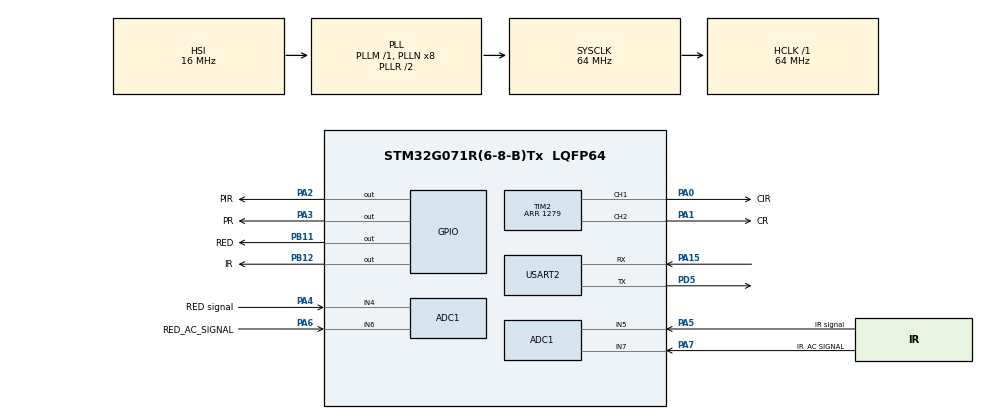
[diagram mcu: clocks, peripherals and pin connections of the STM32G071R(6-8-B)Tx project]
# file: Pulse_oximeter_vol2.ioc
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ADC1.Channel-2\#ChannelRegularConversion=ADC_CHANNEL_4
ADC1.Channel-5\#ChannelRegularConversion=ADC_CHANNEL_5
ADC1.Channel-6\#ChannelRegularConversion=ADC_CHANNEL_6
ADC1.Channel-7\#ChannelRegularConversion=ADC_CHANNEL_7
ADC1.NbrOfConversion=4
ADC1.NbrOfConversionFlag=1
ADC1.OversamplingMode=ENABLE
ADC1.Rank-2\#ChannelRegularConversion=1
ADC1.Rank-5\#ChannelRegularConversion=2
ADC1.Rank-6\#ChannelRegularConversion=3
ADC1.Rank-7\#ChannelRegularConversion=4
ADC1.Ratio=ADC_OVERSAMPLING_RATIO_16
ADC1.RightBitShift=ADC_RIGHTBITSHIFT_4
ADC1.SamplingTime-2\#ChannelRegularConversion=ADC_SAMPLINGTIME_COMMON_1
ADC1.SamplingTime-5\#ChannelRegularConversion=ADC_SAMPLINGTIME_COMMON_1
ADC1.SamplingTime-6\#ChannelRegularConversion=ADC_SAMPLINGTIME_COMMON_1
ADC1.SamplingTime-7\#ChannelRegularConversion=ADC_SAMPLINGTIME_COMMON_1
ADC1.SamplingTimeCommon1=ADC_SAMPLETIME_160CYCLES_5
ADC1.SelectedChannel=ADC_CHANNEL_4|ADC_CHANNEL_5|ADC_CHANNEL_6|ADC_CHANNEL_7
ADC1.master=1
Dma.ADC1.0.Direction=DMA_PERIPH_TO_MEMORY
Dma.ADC1.0.EventEnable=DISABLE
Dma.ADC1.0.Instance=DMA1_Channel1
Dma.ADC1.0.MemDataAlignment=DMA_MDATAALIGN_HALFWORD
Dma.ADC1.0.MemInc=DMA_MINC_ENABLE
Dma.ADC1.0.Mode=DMA_NORMAL
Dma.ADC1.0.PeriphDataAlignment=DMA_PDATAALIGN_HALFWORD
Dma.ADC1.0.PeriphInc=DMA_PINC_DISABLE
Dma.ADC1.0.Polarity=HAL_DMAMUX_REQ_GEN_RISING
Dma.ADC1.0.Priority=DMA_PRIORITY_VERY_HIGH
Dma.ADC1.0.RequestNumber=1
Dma.ADC1.0.SignalID=NONE
Dma.ADC1.0.SyncEnable=DISABLE
Dma.ADC1.0.SyncPolarity=HAL_DMAMUX_SYNC_NO_EVENT
Dma.ADC1.0.SyncRequestNumber=1
Dma.ADC1.0.SyncSignalID=NONE
Dma.Request0=ADC1
Dma.Request1=USART2_TX
Dma.USART2_TX.1.Direction=DMA_MEMORY_TO_PERIPH
Dma.USART2_TX.1.EventEnable=DISABLE
Dma.USART2_TX.1.Instance=DMA1_Channel2
Dma.USART2_TX.1.MemDataAlignment=DMA_MDATAALIGN_BYTE
Dma.USART2_TX.1.MemInc=DMA_MINC_ENABLE
Dma.USART2_TX.1.Mode=DMA_NORMAL
Dma.USART2_TX.1.PeriphDataAlignment=DMA_PDATAALIGN_BYTE
Dma.USART2_TX.1.PeriphInc=DMA_PINC_DISABLE
Dma.USART2_TX.1.Polarity=HAL_DMAMUX_REQ_GEN_RISING
Dma.USART2_TX.1.Priority=DMA_PRIORITY_MEDIUM
Dma.USART2_TX.1.RequestNumber=1
Dma.USART2_TX.1.SignalID=NONE
Dma.USART2_TX.1.SyncEnable=DISABLE
Dma.USART2_TX.1.SyncPolarity=HAL_DMAMUX_SYNC_NO_EVENT
Dma.USART2_TX.1.SyncRequestNumber=1
Dma.USART2_TX.1.SyncSignalID=NONE
Mcu.Family=STM32G0
Mcu.Name=STM32G071R(6-8-B)Tx
Mcu.Package=LQFP64
NVIC.DMA1_Channel1_IRQn=true\:0\:0\:false\:false\:true\:false\:true\:true
NVIC.DMA1_Channel2_3_IRQn=true\:0\:0\:false\:false\:true\:false\:true\:true
NVIC.TIM2_IRQn=true\:0\:0\:false\:false\:true\:true\:true\:true
PA0.GPIO_Label=CIR
PA0.GPIO_Speed=GPIO_SPEED_FREQ_VERY_HIGH
PA0.Signal=S_TIM2_CH1_ETR
PA1.GPIO_Label=CR
PA1.GPIO_Speed=GPIO_SPEED_FREQ_VERY_HIGH
PA1.Signal=S_TIM2_CH2
PA13.GPIO_Label=TMS
PA13.Mode=Serial_Wire
PA13.Signal=SYS_SWDIO
PA14-BOOT0.GPIO_Label=TCK
PA14-BOOT0.Mode=Serial_Wire
PA14-BOOT0.Signal=SYS_SWCLK
PA15.Mode=Asynchronous
PA15.Signal=USART2_RX
PA2.GPIO_Label=PIR
PA2.GPIO_Speed=GPIO_SPEED_FREQ_VERY_HIGH
PA2.Signal=GPIO_Output
PA3.GPIO_Label=PR
PA3.GPIO_Speed=GPIO_SPEED_FREQ_VERY_HIGH
PA3.Signal=GPIO_Output
PA4.GPIO_Label=RED signal
PA4.Mode=IN4
PA4.Signal=ADC1_IN4
PA5.GPIO_Label=IR signal
PA5.Mode=IN5
PA5.Signal=ADC1_IN5
PA6.GPIO_Label=RED_AC_SIGNAL
PA6.Mode=IN6
PA6.Signal=ADC1_IN6
PA7.GPIO_Label=IR_AC SIGNAL
PA7.Mode=IN7
PA7.Signal=ADC1_IN7
PB11.GPIO_Label=RED
PB11.GPIO_Speed=GPIO_SPEED_FREQ_VERY_HIGH
PB11.Signal=GPIO_Output
PB12.GPIO_Label=IR
PB12.GPIO_Speed=GPIO_SPEED_FREQ_VERY_HIGH
PB12.Signal=GPIO_Output
PC13.Mode=SYS_WakeUp1
PC13.Signal=SYS_WKUP2
PC14-OSC32_IN\ (PC14).Mode=LSE-External-Oscillator
PC14-OSC32_IN\ (PC14).Signal=RCC_OSC32_IN
PC15-OSC32_OUT\ (PC15).Mode=LSE-External-Oscillator
PC15-OSC32_OUT\ (PC15).Signal=RCC_OSC32_OUT
PD5.Mode=Asynchronous
PD5.Signal=USART2_TX
PF0-OSC_IN\ (PF0).GPIO_Label=MCO
PF0-OSC_IN\ (PF0).Mode=HSE-External-Oscillator
PF0-OSC_IN\ (PF0).Signal=RCC_OSC_IN
PF1-OSC_OUT\ (PF1).Mode=HSE-External-Oscillator
PF1-OSC_OUT\ (PF1).Signal=RCC_OSC_OUT
ProjectManager.HeapSize=0x200
ProjectManager.StackSize=0x400
ProjectManager.TargetToolchain=STM32CubeIDE
RCC.ADCFreq_Value=64000000
RCC.AHBFreq_Value=64000000
RCC.CortexFreq_Value=64000000
RCC.EXTERNAL_CLOCK_VALUE=12288000
RCC.HCLKFreq_Value=64000000
RCC.HSE_VALUE=8000000
RCC.HSI_VALUE=16000000
RCC.SYSCLKFreq_VALUE=64000000
RCC.SYSCLKSource=RCC_SYSCLKSOURCE_PLLCLK
RCC.VCOOutputFreq_Value=128000000
SH.S_TIM2_CH1_ETR.0=TIM2_CH1,PWM Generation1 CH1
SH.S_TIM2_CH2.0=TIM2_CH2,PWM Generation2 CH2
TIM2.AutoReloadPreload=TIM_AUTORELOAD_PRELOAD_ENABLE
TIM2.Channel-PWM\ Generation1\ CH1=TIM_CHANNEL_1
TIM2.Channel-PWM\ Generation2\ CH2=TIM_CHANNEL_2
TIM2.Period=1279
TIM2.Pulse-PWM\ Generation2\ CH2=0
USART2.VirtualMode-Asynchronous=VM_ASYNC
VP_TIM2_VS_ClockSourceINT.Mode=Internal
board=NUCLEO-G071RB

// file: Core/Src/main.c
/* USER CODE BEGIN Header */
/**
  ******************************************************************************
  * @file           : main.c
  * @brief          : Main program body
  ******************************************************************************
  * @attention
  *
  * Copyright (c) 2026 STMicroelectronics.
  * All rights reserved.
  *
  * This software is licensed under terms that can be found in the LICENSE file
  * in the root directory of this software component.
  * If no LICENSE file comes with this software, it is provided AS-IS.
  *
  ******************************************************************************
  */
/* USER CODE END Header */
#include "main.h"

/* USER CODE BEGIN Includes */
#include "stdio.h"
#include "math.h"
#include "Filters.h"
#include "stdio.h"
/* USER CODE END Includes */

ADC_HandleTypeDef hadc1;
DMA_HandleTypeDef hdma_adc1;

TIM_HandleTypeDef htim2;

UART_HandleTypeDef huart2;
DMA_HandleTypeDef hdma_usart2_tx;

/* USER CODE BEGIN PV */

LOW_FilterTypeDef Filter_IR; // an xreiastei

LOW_FilterTypeDef Filter_R; // an xreiastei
//LOW_FilterTypeDef Filter_R_ADC;

//uint32_t duty_cycle_PIR=1279; //25% dc
//uint32_t pwm_PIR=0;

//flags
volatile uint8_t adc_triggered_1=0;
volatile uint8_t adc_triggered_2=0;
volatile uint8_t data_1_ready=0;
volatile uint8_t data_2_ready=0;
volatile uint8_t active_adc=0;
volatile uint8_t phase_shift_flag=0;

volatile uint32_t duty_cycle_CIR=384; //50% dc 639
uint32_t max_duty_cycle_CIR=1151; //90% dc
uint32_t min_duty_cycle_CIR=64; //5% dc

uint16_t duty_cycle_envelope=25; // 1:1 means 35=>35%

volatile uint32_t duty_cycle_CR=384; //50% dc 639
uint32_t max_duty_cycle_CR=1151; //90% dc 1151
uint32_t min_duty_cycle_CR=64; //5% dc
volatile float duty_cycle_CR_per=0;

// ADC and VALUES
uint16_t adc_val[4];

volatile uint16_t ir_val=0;
volatile uint16_t red_val=0;

volatile uint16_t ir_ac_val=0;
volatile uint16_t r_ac_val=0;

uint8_t trigger_step=13;

//Filter
volatile float ir_ac_filtered=0.0; //output of 5hz LPF
volatile float r_ac_filtered=0.0; // output of 5hz LPF

volatile float ir_ac_final=0.0; // final filtered
volatile float r_ac_final=0.0; // final filtered

volatile float r_dc_filtered=0.0;

//temp
volatile float voltage_r=0.0;
volatile float voltage_ir=0.0;

uint16_t low_threshold_adc=2500; //2.014 Vdc
uint16_t high_threshold_adc=2600; //2.054 Vdc

//uint32_t duty_cycle_PR=25; //25% dc
//uint32_t pwm_PR=0;

//For timer interrupt 100 steps=2ms period
volatile uint8_t steps_1=0;
volatile uint8_t steps_2=0;

volatile uint8_t current_steps_1=0;
volatile uint8_t current_steps_2=0;

//for testing purposes
//==========================
//frequency r_ac_filtered
uint16_t x1,x2,x3=0;
uint16_t ton,toff=0;
uint16_t state=0;
float period=0.0;
float frequency=0.0;
//==========================

//for SPO2 measurement

float SPO2=0.0;
uint8_t ready_flag=0;
char data[20]={'\0'};

//PA0=CIR
//PA1=CR
//PA2=PIR
//PA3=PR
//PA4=Red DC signal ADC
//PA5=IR DC signal ADC
//PA6=Red AC Signal ADC
//PA7=IR AC Signal ADC
//PB11=Red signal for CD4066B
//PB12=IR signal for CD4066B

/* USER CODE END PV */

void SystemClock_Config(void);
static void MX_GPIO_Init(void);
static void MX_DMA_Init(void);
static void MX_TIM2_Init(void);
static void MX_ADC1_Init(void);
static void MX_USART2_UART_Init(void);
/* USER CODE BEGIN PFP */

//functions for "heavy" cpu usage to place inside while

void r_ac_frequency(){
	if(r_ac_filtered<1900 && state==0){ //detect first falling edge
		x1=HAL_GetTick();
		state=1;
	}

	if(r_ac_filtered>2000 && state==1){ //detect first rising edge
		x2=HAL_GetTick();
		ton=x2-x1;
		state=2;
	}

	if(r_ac_filtered<1900 && state==2){// detect second falling edge
		x3=HAL_GetTick();
		toff=x3-x2;
		period=(ton+toff)/1000.0f;
		frequency=1.0f/period;
		x1=x3;
		state=1;
	}
}

//Ready data for CIR
void CIR_data_ready(){
    if(data_1_ready==1){
        data_1_ready=0;
        ir_val=adc_val[1];
        ir_ac_val=adc_val[3];
        //adc_val[2] and [0] will be garbage

        //Increase Duty Cycle of CIR
		if(ir_val<low_threshold_adc && duty_cycle_CIR<max_duty_cycle_CIR){
			duty_cycle_CIR++;
		}

        //Decrease Duty Cycle of CIR
		if(ir_val>high_threshold_adc && duty_cycle_CIR>min_duty_cycle_CIR){
			duty_cycle_CIR--;
		}

        //filter for IR_AC
        ir_ac_filtered=LOW_PASS_4_ORDER(&Filter_IR,(uint16_t) ir_ac_val); // 5HZ LPF
		ir_ac_final=LOW_PASS_IR_AC(0.003768,0.003768,(uint16_t) ir_ac_filtered); // 0.003768 => 0.3 HZ LPF

    }
}

//Ready data for CR
void CR_data_ready(){
    if(data_2_ready==1){
        data_2_ready=0;
        red_val=adc_val[0];
        r_ac_val=adc_val[2];
        //adc_val[1] and [3] will be garbage

      //  r_dc_filtered=LOW_PASS_4_ORDER(&Filter_R_ADC,(uint16_t) red_val);

            //Increase CR Duty cycle
        	if(red_val<low_threshold_adc && duty_cycle_CR<max_duty_cycle_CR){
						duty_cycle_CR=duty_cycle_CR+1;
					}

                    //Decrease CR Duty cycle
					if(red_val>high_threshold_adc && duty_cycle_CR>min_duty_cycle_CR){
						duty_cycle_CR=duty_cycle_CR-1;
					}

        //Filters for R_AC

        r_ac_filtered=LOW_PASS_4_ORDER(&Filter_R,(uint16_t) r_ac_val); // 5HZ LPF
        r_ac_final=LOW_PASS_R_AC(0.003768,0.003768,(uint16_t) r_ac_filtered); // 0.003768 => 0.3 HZ LPF
        duty_cycle_CR_per=(duty_cycle_CR*100)/1280.0f;
        //frequency
      //  r_ac_frequency();

        ready_flag=0; // ready to measure the SPO2

    }
}

/* USER CODE END PFP */

int main(void)
{

  /* MCU Configuration--------------------------------------------------------*/

  /* Reset of all peripherals, Initializes the Flash interface and the Systick. */
  HAL_Init();

  /* Configure the system clock */
  SystemClock_Config();

  /* Initialize all configured peripherals */
  MX_GPIO_Init();
  MX_DMA_Init();
  MX_TIM2_Init();
  MX_ADC1_Init();
  MX_USART2_UART_Init();
  /* USER CODE BEGIN 2 */
  HAL_TIM_Base_Start_IT(&htim2);
  HAL_TIM_PWM_Start(&htim2,TIM_CHANNEL_1);
  HAL_TIM_PWM_Start(&htim2,TIM_CHANNEL_2);
  HAL_ADCEx_Calibration_Start(&hadc1);

  //FILTER INIT
  LOW_PASS_4_ORDER_Init(&Filter_IR,0.0628f); // 5 Hz LPF
  LOW_PASS_4_ORDER_Init(&Filter_R,0.0628f);  // 5 Hz LPF
  //LOW_PASS_4_ORDER_Init(&Filter_R_ADC,0.2512f); //0.2 Hz LPF

  /* USER CODE END 2 */

  /* Infinite loop */
  /* USER CODE BEGIN WHILE */
  while (1)
  {

	  //for while loop

	  current_steps_1=steps_1;
	  current_steps_2=steps_2;

	  //trigger_step to trigger once the adc

	  //PIR

	  if(current_steps_1<=duty_cycle_envelope){ // PIR starts
	      HAL_GPIO_WritePin(GPIOA,GPIO_PIN_2,1);

	      //start PWM for CIR
	      if(current_steps_1<duty_cycle_envelope){
	          TIM2->CCR1=duty_cycle_CIR;
	      }

	      //Trigger the ADC and choose when to trigger
	      //remove trigger_step if you want to trigger in the whole pulse
	          if(current_steps_1==trigger_step && adc_triggered_1==0){
	             // HAL_ADC_Start_DMA(&hadc1,(uint32_t*)adc_val,4);
	              adc_triggered_1=1;
	              active_adc=1;
	          }

	  //PIR Pulse for CD4066
	  if(current_steps_1>=5 && current_steps_1<=15){
	      HAL_GPIO_WritePin(GPIOB,GPIO_PIN_12,GPIO_PIN_SET);
	  }
	  //PIR Pulse stops for CD4066
	  else{
	      HAL_GPIO_WritePin(GPIOB,GPIO_PIN_12,GPIO_PIN_RESET);

	  }

	  }

	  //Stop the PIR Pulse
	  else {
	      HAL_GPIO_WritePin(GPIOA,GPIO_PIN_2,0);
	  }

	  // Stop CIR PWM 1 step before the PIR pulse ends
	  if(current_steps_1>=duty_cycle_envelope){
	      TIM2->CCR1=0;
	  }

	  //if steps_1 go above 100, reset
	  if(current_steps_1==99){
	      adc_triggered_1=0;
	  }

	  //PR

	      if(phase_shift_flag==1){ // if 50 steps passed
	                               // they are now in sync

	          if(current_steps_2<=duty_cycle_envelope){ // Start PR
	              HAL_GPIO_WritePin(GPIOA,GPIO_PIN_3,1);

	              //Start PWM CR
	              if(current_steps_2<duty_cycle_envelope){
	                  TIM2->CCR2=duty_cycle_CR;
	              }

	              //Start PR Pulse for CD4066
	              if(current_steps_2>=5 && current_steps_2<=15){
	                  HAL_GPIO_WritePin(GPIOB,GPIO_PIN_11,GPIO_PIN_SET);
	              }
	              //Stop PR Pulse for CD4066
	              else {
	                  HAL_GPIO_WritePin(GPIOB,GPIO_PIN_11,GPIO_PIN_RESET);
	              }

	               //Trigger the ADC and choose when to trigger
	               //remove trigger_step if you want to trigger in the whole pulse
	              if(current_steps_2 == trigger_step && adc_triggered_2==0){
	                  HAL_ADC_Start_DMA(&hadc1,(uint32_t*)adc_val,4);
	                  adc_triggered_2=1;
	                  active_adc=2;
	              }

	          }

	          //Stop PR Pulse
	          else {
	              HAL_GPIO_WritePin(GPIOA,GPIO_PIN_3,0);
	          }
	          //Stop PWM CR Pulse 1 step before PR
	          if(current_steps_2>=duty_cycle_envelope){
	              TIM2->CCR2=0;
	          }

	          if(current_steps_2==99){
	              adc_triggered_2=0;

	          }

	      }

	      //insert the 2 functions
	     // CIR_data_ready();
	      CR_data_ready();

	      //to see how much percent of SpO2 in serial monitor
	      /*
	      if(ready_flag==1){
	    	  ready_flag=0;
	    	  SPO2= ((r_ac_final/red_val)/(ir_ac_final/ir_val));
	    	  sprintf(data,"SpO2=%.2lf",SPO2);
	    	  HAL_UART_Transmit_DMA(&huart2,(uint8_t*) data,sizeof(data));
	      }
	      */
	      //end while loop

	  }// while end

    /* USER CODE END WHILE */

}

void SystemClock_Config(void)
{
  RCC_OscInitTypeDef RCC_OscInitStruct = {0};
  RCC_ClkInitTypeDef RCC_ClkInitStruct = {0};

  /** Configure the main internal regulator output voltage
  */
  HAL_PWREx_ControlVoltageScaling(PWR_REGULATOR_VOLTAGE_SCALE1);

  /** Initializes the RCC Oscillators according to the specified parameters
  * in the RCC_OscInitTypeDef structure.
  */
  RCC_OscInitStruct.OscillatorType = RCC_OSCILLATORTYPE_HSI;
  RCC_OscInitStruct.HSIState = RCC_HSI_ON;
  RCC_OscInitStruct.HSIDiv = RCC_HSI_DIV1;
  RCC_OscInitStruct.HSICalibrationValue = RCC_HSICALIBRATION_DEFAULT;
  RCC_OscInitStruct.PLL.PLLState = RCC_PLL_ON;
  RCC_OscInitStruct.PLL.PLLSource = RCC_PLLSOURCE_HSI;
  RCC_OscInitStruct.PLL.PLLM = RCC_PLLM_DIV1;
  RCC_OscInitStruct.PLL.PLLN = 8;
  RCC_OscInitStruct.PLL.PLLP = RCC_PLLP_DIV2;
  RCC_OscInitStruct.PLL.PLLQ = RCC_PLLQ_DIV2;
  RCC_OscInitStruct.PLL.PLLR = RCC_PLLR_DIV2;
  if (HAL_RCC_OscConfig(&RCC_OscInitStruct) != HAL_OK)
  {
    Error_Handler();
  }

  /** Initializes the CPU, AHB and APB buses clocks
  */
  RCC_ClkInitStruct.ClockType = RCC_CLOCKTYPE_HCLK|RCC_CLOCKTYPE_SYSCLK
                              |RCC_CLOCKTYPE_PCLK1;
  RCC_ClkInitStruct.SYSCLKSource = RCC_SYSCLKSOURCE_PLLCLK;
  RCC_ClkInitStruct.AHBCLKDivider = RCC_SYSCLK_DIV1;
  RCC_ClkInitStruct.APB1CLKDivider = RCC_HCLK_DIV1;

  if (HAL_RCC_ClockConfig(&RCC_ClkInitStruct, FLASH_LATENCY_2) != HAL_OK)
  {
    Error_Handler();
  }
}

static void MX_ADC1_Init(void)
{

  ADC_ChannelConfTypeDef sConfig = {0};

  /** Configure the global features of the ADC (Clock, Resolution, Data Alignment and number of conversion)
  */
  hadc1.Instance = ADC1;
  hadc1.Init.ClockPrescaler = ADC_CLOCK_SYNC_PCLK_DIV2;
  hadc1.Init.Resolution = ADC_RESOLUTION_12B;
  hadc1.Init.DataAlign = ADC_DATAALIGN_RIGHT;
  hadc1.Init.ScanConvMode = ADC_SCAN_ENABLE;
  hadc1.Init.EOCSelection = ADC_EOC_SINGLE_CONV;
  hadc1.Init.LowPowerAutoWait = DISABLE;
  hadc1.Init.LowPowerAutoPowerOff = DISABLE;
  hadc1.Init.ContinuousConvMode = DISABLE;
  hadc1.Init.NbrOfConversion = 4;
  hadc1.Init.DiscontinuousConvMode = DISABLE;
  hadc1.Init.ExternalTrigConv = ADC_SOFTWARE_START;
  hadc1.Init.ExternalTrigConvEdge = ADC_EXTERNALTRIGCONVEDGE_NONE;
  hadc1.Init.DMAContinuousRequests = DISABLE;
  hadc1.Init.Overrun = ADC_OVR_DATA_PRESERVED;
  hadc1.Init.SamplingTimeCommon1 = ADC_SAMPLETIME_160CYCLES_5;
  hadc1.Init.SamplingTimeCommon2 = ADC_SAMPLETIME_1CYCLE_5;
  hadc1.Init.OversamplingMode = ENABLE;
  hadc1.Init.Oversampling.Ratio = ADC_OVERSAMPLING_RATIO_16;
  hadc1.Init.Oversampling.RightBitShift = ADC_RIGHTBITSHIFT_4;
  hadc1.Init.Oversampling.TriggeredMode = ADC_TRIGGEREDMODE_SINGLE_TRIGGER;
  hadc1.Init.TriggerFrequencyMode = ADC_TRIGGER_FREQ_HIGH;
  if (HAL_ADC_Init(&hadc1) != HAL_OK)
  {
    Error_Handler();
  }

  /** Configure Regular Channel
  */
  sConfig.Channel = ADC_CHANNEL_4;
  sConfig.Rank = ADC_REGULAR_RANK_1;
  sConfig.SamplingTime = ADC_SAMPLINGTIME_COMMON_1;
  if (HAL_ADC_ConfigChannel(&hadc1, &sConfig) != HAL_OK)
  {
    Error_Handler();
  }

  /** Configure Regular Channel
  */
  sConfig.Channel = ADC_CHANNEL_5;
  sConfig.Rank = ADC_REGULAR_RANK_2;
  if (HAL_ADC_ConfigChannel(&hadc1, &sConfig) != HAL_OK)
  {
    Error_Handler();
  }

  /** Configure Regular Channel
  */
  sConfig.Channel = ADC_CHANNEL_6;
  sConfig.Rank = ADC_REGULAR_RANK_3;
  if (HAL_ADC_ConfigChannel(&hadc1, &sConfig) != HAL_OK)
  {
    Error_Handler();
  }

  /** Configure Regular Channel
  */
  sConfig.Channel = ADC_CHANNEL_7;
  sConfig.Rank = ADC_REGULAR_RANK_4;
  if (HAL_ADC_ConfigChannel(&hadc1, &sConfig) != HAL_OK)
  {
    Error_Handler();
  }

}

static void MX_TIM2_Init(void)
{

  TIM_ClockConfigTypeDef sClockSourceConfig = {0};
  TIM_MasterConfigTypeDef sMasterConfig = {0};
  TIM_OC_InitTypeDef sConfigOC = {0};

  htim2.Instance = TIM2;
  htim2.Init.Prescaler = 0;
  htim2.Init.CounterMode = TIM_COUNTERMODE_UP;
  htim2.Init.Period = 1279;
  htim2.Init.ClockDivision = TIM_CLOCKDIVISION_DIV1;
  htim2.Init.AutoReloadPreload = TIM_AUTORELOAD_PRELOAD_ENABLE;
  if (HAL_TIM_Base_Init(&htim2) != HAL_OK)
  {
    Error_Handler();
  }
  sClockSourceConfig.ClockSource = TIM_CLOCKSOURCE_INTERNAL;
  if (HAL_TIM_ConfigClockSource(&htim2, &sClockSourceConfig) != HAL_OK)
  {
    Error_Handler();
  }
  if (HAL_TIM_PWM_Init(&htim2) != HAL_OK)
  {
    Error_Handler();
  }
  sMasterConfig.MasterOutputTrigger = TIM_TRGO_RESET;
  sMasterConfig.MasterSlaveMode = TIM_MASTERSLAVEMODE_DISABLE;
  if (HAL_TIMEx_MasterConfigSynchronization(&htim2, &sMasterConfig) != HAL_OK)
  {
    Error_Handler();
  }
  sConfigOC.OCMode = TIM_OCMODE_PWM1;
  sConfigOC.Pulse = 0;
  sConfigOC.OCPolarity = TIM_OCPOLARITY_HIGH;
  sConfigOC.OCFastMode = TIM_OCFAST_DISABLE;
  if (HAL_TIM_PWM_ConfigChannel(&htim2, &sConfigOC, TIM_CHANNEL_1) != HAL_OK)
  {
    Error_Handler();
  }
  if (HAL_TIM_PWM_ConfigChannel(&htim2, &sConfigOC, TIM_CHANNEL_2) != HAL_OK)
  {
    Error_Handler();
  }
  HAL_TIM_MspPostInit(&htim2);

}

static void MX_USART2_UART_Init(void)
{

  huart2.Instance = USART2;
  huart2.Init.BaudRate = 115200;
  huart2.Init.WordLength = UART_WORDLENGTH_8B;
  huart2.Init.StopBits = UART_STOPBITS_1;
  huart2.Init.Parity = UART_PARITY_NONE;
  huart2.Init.Mode = UART_MODE_TX_RX;
  huart2.Init.HwFlowCtl = UART_HWCONTROL_NONE;
  huart2.Init.OverSampling = UART_OVERSAMPLING_16;
  huart2.Init.OneBitSampling = UART_ONE_BIT_SAMPLE_DISABLE;
  huart2.Init.ClockPrescaler = UART_PRESCALER_DIV1;
  huart2.AdvancedInit.AdvFeatureInit = UART_ADVFEATURE_NO_INIT;
  if (HAL_UART_Init(&huart2) != HAL_OK)
  {
    Error_Handler();
  }
  if (HAL_UARTEx_SetTxFifoThreshold(&huart2, UART_TXFIFO_THRESHOLD_1_8) != HAL_OK)
  {
    Error_Handler();
  }
  if (HAL_UARTEx_SetRxFifoThreshold(&huart2, UART_RXFIFO_THRESHOLD_1_8) != HAL_OK)
  {
    Error_Handler();
  }
  if (HAL_UARTEx_DisableFifoMode(&huart2) != HAL_OK)
  {
    Error_Handler();
  }

}

static void MX_DMA_Init(void)
{

  /* DMA controller clock enable */
  __HAL_RCC_DMA1_CLK_ENABLE();

  /* DMA interrupt init */
  /* DMA1_Channel1_IRQn interrupt configuration */
  HAL_NVIC_SetPriority(DMA1_Channel1_IRQn, 0, 0);
  HAL_NVIC_EnableIRQ(DMA1_Channel1_IRQn);
  /* DMA1_Channel2_3_IRQn interrupt configuration */
  HAL_NVIC_SetPriority(DMA1_Channel2_3_IRQn, 0, 0);
  HAL_NVIC_EnableIRQ(DMA1_Channel2_3_IRQn);

}

static void MX_GPIO_Init(void)
{
  GPIO_InitTypeDef GPIO_InitStruct = {0};

  /* GPIO Ports Clock Enable */
  __HAL_RCC_GPIOC_CLK_ENABLE();
  __HAL_RCC_GPIOF_CLK_ENABLE();
  __HAL_RCC_GPIOA_CLK_ENABLE();
  __HAL_RCC_GPIOB_CLK_ENABLE();
  __HAL_RCC_GPIOD_CLK_ENABLE();

  /*Configure GPIO pin Output Level */
  HAL_GPIO_WritePin(GPIOA, PIR_Pin|PR_Pin, GPIO_PIN_RESET);

  /*Configure GPIO pin Output Level */
  HAL_GPIO_WritePin(GPIOB, RED_Pin|IR_Pin, GPIO_PIN_RESET);

  /*Configure GPIO pins : PIR_Pin PR_Pin */
  GPIO_InitStruct.Pin = PIR_Pin|PR_Pin;
  GPIO_InitStruct.Mode = GPIO_MODE_OUTPUT_PP;
  GPIO_InitStruct.Pull = GPIO_NOPULL;
  GPIO_InitStruct.Speed = GPIO_SPEED_FREQ_VERY_HIGH;
  HAL_GPIO_Init(GPIOA, &GPIO_InitStruct);

  /*Configure GPIO pins : RED_Pin IR_Pin */
  GPIO_InitStruct.Pin = RED_Pin|IR_Pin;
  GPIO_InitStruct.Mode = GPIO_MODE_OUTPUT_PP;
  GPIO_InitStruct.Pull = GPIO_NOPULL;
  GPIO_InitStruct.Speed = GPIO_SPEED_FREQ_VERY_HIGH;
  HAL_GPIO_Init(GPIOB, &GPIO_InitStruct);

}

/* USER CODE BEGIN 4 */
void HAL_TIM_PeriodElapsedCallback(TIM_HandleTypeDef *htim){
	if(htim->Instance==TIM2){

		steps_1++;

		if(steps_1==50){
		    phase_shift_flag=1;
		}

		if(phase_shift_flag==1){
		    steps_2++;
		}

		if(steps_1>=100) steps_1=0;
		if(steps_2>=100) steps_2=0;

	}
}

	void HAL_ADC_ConvCpltCallback(ADC_HandleTypeDef *hadc){

		if(active_adc==1){
		        data_1_ready=1;
		    }

		    if(active_adc==2){
		        data_2_ready=1;
		    }

	}

/* USER CODE END 4 */

void Error_Handler(void)
{
  __disable_irq();
  while (1)
  {
  }
}
